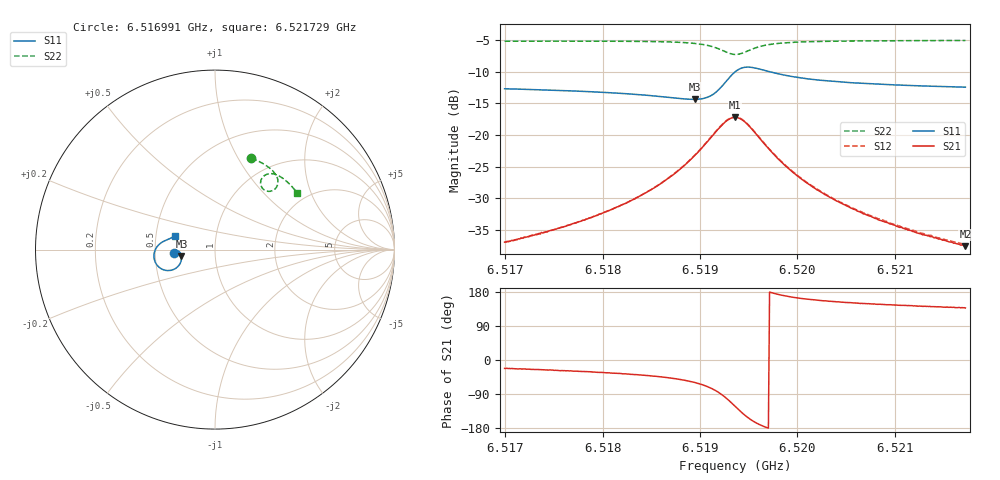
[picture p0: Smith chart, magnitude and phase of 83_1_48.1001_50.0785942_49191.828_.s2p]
#  HZ  S  RI  R  50.00
! Rohde & Schwarz Vector Network Analyzer
! Rohde-Schwarz,ZNB20-2Port,1311601062101988,3.16
! Created: UTC 12/23/2023, 3:42:59 AM
! freq[Hz]  re:S11  im:S11  re:S21  im:S21  re:S12  im:S12  re:S22  im:S22
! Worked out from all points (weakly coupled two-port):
!   401 points, 6.516991 GHz to 6.521729 GHz, reference 50 ohm
!   highest |S21| = -17.24 dB at 6.51936 GHz (marker M1); lowest = -37.6 dB at 6.521729 GHz (marker M2)
!   lowest |S11| = -14.4 dB at 6.518945 GHz (marker M3), VSWR 1.47, Z = 34.1 - j2.56 ohm
!   |S11| at or under -10 dB: start of sweep to 6.519365 GHz; 6.519709 GHz to end of sweep
!   |S22| runs from -7.3 to -5.1 dB; largest |S21 - S12| = 0.0042
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6.5169909e9  -0.2305 -0.0174  0.0132 -0.00539  0.0133 -0.00497  0.203 0.5097
6.5173463e9  -0.2267 -0.0122  0.0151 -0.00714  0.0152 -0.00662  0.2292 0.4986
6.5177845e9  -0.2205 -0.00695  0.0181 -0.0106  0.0185 -0.00998  0.2615 0.4823
6.5182465e9  -0.211 -0.00496  0.0232 -0.0174  0.024 -0.0167  0.2964 0.4605
6.5185781e9  -0.2011 -0.00954  0.0291 -0.028  0.0301 -0.0272  0.3221 0.4381
6.5187558e9  -0.1942 -0.0175  0.0327 -0.0386  0.0342 -0.0379  0.3359 0.4217
6.5189453e9  -0.1873 -0.0361  0.0352 -0.0589  0.0371 -0.0582  0.3485 0.3956
6.5190519e9  -0.1871 -0.0556  0.0319 -0.0779  0.0345 -0.0773  0.3509 0.3744
6.5191348e9  -0.1941 -0.0771  0.0222 -0.0973  0.0253 -0.0973  0.3461 0.354
6.5192651e9  -0.2368 -0.113  -0.0215 -0.1257  -0.0178 -0.1274  0.3131 0.3259
6.5193599e9  -0.2942 -0.1094  -0.0726 -0.1166  -0.0698 -0.1197  0.2733 0.3332
6.5194073e9  -0.3192 -0.0909  -0.0928 -0.0978  -0.0907 -0.1013  0.2595 0.3492
6.5194665e9  -0.3367 -0.0597  -0.1051 -0.0688  -0.1038 -0.0722  0.2537 0.3732
6.5195731e9  -0.336 -0.00954  -0.0991 -0.0259  -0.0991 -0.0289  0.2683 0.4063
6.5196797e9  -0.3199 0.0199  -0.0818 -0.00327  -0.0824 -0.00585  0.2911 0.4203
6.5199047e9  -0.2892 0.0446  -0.0535 0.0116  -0.0543 0.0102  0.3298 0.4208
6.5201535e9  -0.2689 0.0542  -0.0366 0.0139  -0.0373 0.013  0.3586 0.4096
6.5203312e9  -0.2594 0.058  -0.0293 0.0137  -0.0301 0.013  0.3745 0.3998
6.5205562e9  -0.2505 0.0618  -0.0231 0.0127  -0.0238 0.0123  0.3917 0.3868
6.5209471e9  -0.2397 0.0675  -0.0165 0.0112  -0.017 0.0109  0.4167 0.3637
6.5212669e9  -0.2329 0.072  -0.0131 0.0102  -0.0136 0.00987  0.4348 0.3444
6.5217288e9  -0.2247 0.0783  -0.00973 0.00897  -0.0103 0.00883  0.4577 0.316
